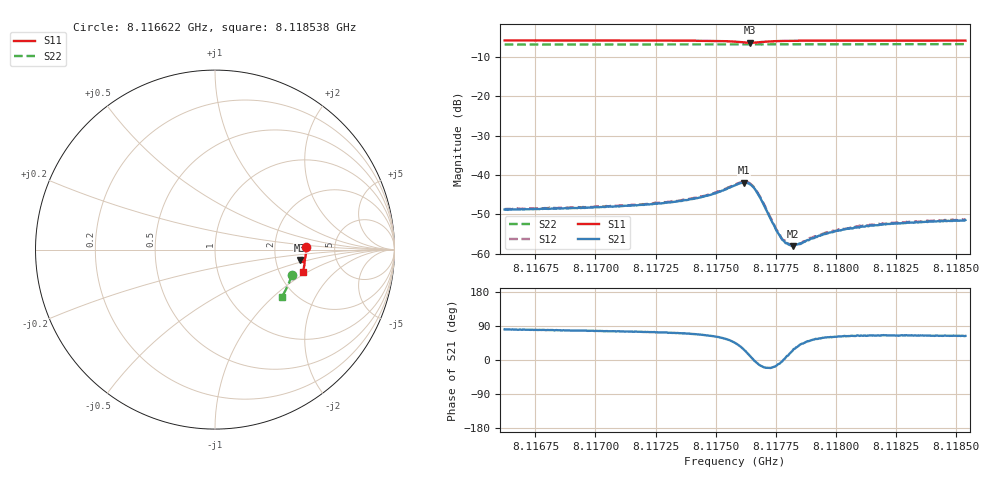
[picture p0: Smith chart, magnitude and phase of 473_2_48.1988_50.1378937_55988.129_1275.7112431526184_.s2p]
#  HZ  S  RI  R  50.00
! Rohde & Schwarz Vector Network Analyzer
! Rohde-Schwarz,ZNB20-2Port,1311601062101988,3.16
! Created: UTC 3/20/2024, 11:57:14 AM
! freq[Hz]  re:S11  im:S11  re:S21  im:S21  re:S12  im:S12  re:S22  im:S22
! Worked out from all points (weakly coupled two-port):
!   401 points, 8.116622 GHz to 8.118538 GHz, reference 50 ohm
!   highest |S21| = -41.90 dB at 8.117619 GHz (marker M1); lowest = -58.0 dB at 8.11782 GHz (marker M2)
!   lowest |S11| = -6.5 dB at 8.117643 GHz (marker M3), VSWR 2.81, Z = 137 - j20.4 ohm
!   |S11| at or under -10 dB: nowhere
!   |S22| runs from -6.9 to -6.8 dB; largest |S21 - S12| = 0.00022
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8.116622e9  0.5072 0.0129  0.000574 0.0036  0.000621 0.00366  0.4271 -0.1432
8.116943e9  0.5067 -0.0119  0.000836 0.00373  0.000905 0.00378  0.4203 -0.1644
8.117264e9  0.5043 -0.0379  0.00127 0.00419  0.00134 0.00424  0.4121 -0.1856
8.1173455e9  0.503 -0.0451  0.00153 0.00442  0.0016 0.00444  0.41 -0.1909
8.1174509e9  0.5 -0.0556  0.00215 0.00489  0.00221 0.00496  0.4071 -0.1977
8.1175084e9  0.4963 -0.0621  0.00294 0.00526  0.00307 0.00539  0.4052 -0.2016
8.1175802e9  0.4851 -0.0691  0.00522 0.00526  0.00537 0.00532  0.4026 -0.2061
8.1176186e9  0.4749 -0.0657  0.00717 0.00361  0.00736 0.00364  0.4011 -0.208
8.1176425e9  0.4716 -0.0576  0.00751 0.00142  0.00771 0.00138  0.4004 -0.2091
8.1176569e9  0.4731 -0.0523  0.007 0.000108  0.00715 4.64e-05  0.4001 -0.2096
8.1176761e9  0.4781 -0.0476  0.00564 -0.00102  0.00578 -0.00107  0.3999 -0.2107
8.1177479e9  0.4944 -0.0522  0.00204 -0.000614  0.00207 -0.000624  0.3984 -0.2154
8.1177719e9  0.4966 -0.0558  0.0016 -0.000158  0.0016 -0.000176  0.3979 -0.217
8.1177958e9  0.4979 -0.059  0.00136 0.00025  0.00135 0.000217  0.3971 -0.2186
8.1178198e9  0.4986 -0.0622  0.00114 0.000526  0.00123 0.000506  0.3965 -0.2202
8.1178485e9  0.4991 -0.0655  0.00105 0.00087  0.00105 0.000811  0.3955 -0.222
8.1179012e9  0.4994 -0.0713  0.000956 0.00126  0.000972 0.00126  0.3937 -0.2255
8.1179635e9  0.499 -0.0772  0.000908 0.00157  0.000957 0.00161  0.3918 -0.2294
8.1180402e9  0.4983 -0.0841  0.000942 0.00184  0.000965 0.00186  0.3893 -0.2341
8.1181024e9  0.4975 -0.0893  0.000962 0.00199  0.000978 0.00204  0.3871 -0.2379
8.1182222e9  0.4958 -0.0989  0.00102 0.00218  0.00104 0.00222  0.383 -0.2452
8.1185384e9  0.4902 -0.1229  0.0012 0.00241  0.00123 0.00247  0.3713 -0.2642
